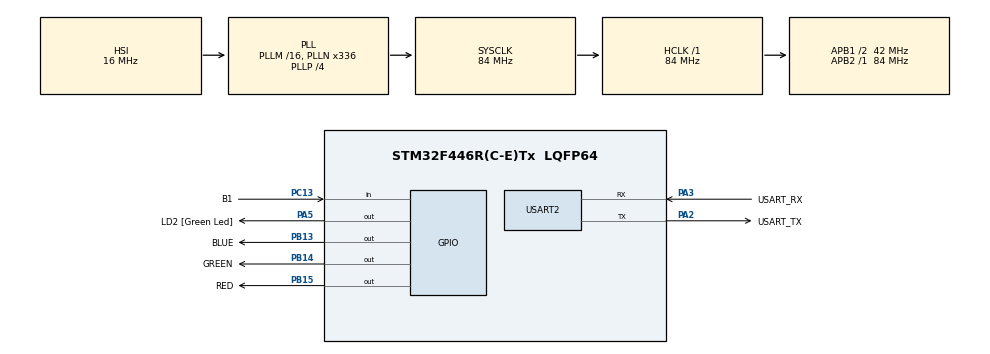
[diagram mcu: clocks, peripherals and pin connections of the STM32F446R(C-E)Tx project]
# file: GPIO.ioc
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Mcu.Family=STM32F4
Mcu.Name=STM32F446R(C-E)Tx
Mcu.Package=LQFP64
NVIC.PriorityGroup=NVIC_PRIORITYGROUP_0
PA13.GPIO_Label=TMS
PA13.Mode=Serial_Wire
PA13.Signal=SYS_JTMS-SWDIO
PA14.GPIO_Label=TCK
PA14.Mode=Serial_Wire
PA14.Signal=SYS_JTCK-SWCLK
PA2.GPIO_Label=USART_TX
PA2.Mode=Asynchronous
PA2.Signal=USART2_TX
PA3.GPIO_Label=USART_RX
PA3.Mode=Asynchronous
PA3.Signal=USART2_RX
PA5.GPIO_Label=LD2 [Green Led]
PA5.Signal=GPIO_Output
PB13.GPIO_Label=BLUE
PB13.Signal=GPIO_Output
PB14.GPIO_Label=GREEN
PB14.Signal=GPIO_Output
PB15.GPIO_Label=RED
PB15.Signal=GPIO_Output
PB3.GPIO_Label=SWO
PB3.Signal=SYS_JTDO-SWO
PC13.GPIO_Label=B1
PC13.GPIO_PuPd=GPIO_PULLUP
PC13.Signal=GPIO_Input
PC14-OSC32_IN.Mode=LSE-External-Oscillator
PC14-OSC32_IN.Signal=RCC_OSC32_IN
PC15-OSC32_OUT.Mode=LSE-External-Oscillator
PC15-OSC32_OUT.Signal=RCC_OSC32_OUT
PH0-OSC_IN.Mode=HSE-External-Oscillator
PH0-OSC_IN.Signal=RCC_OSC_IN
PH1-OSC_OUT.Mode=HSE-External-Oscillator
PH1-OSC_OUT.Signal=RCC_OSC_OUT
ProjectManager.HeapSize=0x200
ProjectManager.StackSize=0x400
ProjectManager.TargetToolchain=STM32CubeIDE
RCC.48MHZClocksFreq_Value=84000000
RCC.AHBFreq_Value=84000000
RCC.APB1CLKDivider=RCC_HCLK_DIV2
RCC.APB1Freq_Value=42000000
RCC.APB1TimFreq_Value=84000000
RCC.APB2Freq_Value=84000000
RCC.APB2TimFreq_Value=84000000
RCC.CortexFreq_Value=84000000
RCC.FLatency-AdvancedSettings=FLASH_LATENCY_2
RCC.HCLKFreq_Value=84000000
RCC.HSE_VALUE=8000000
RCC.HSI_VALUE=16000000
RCC.PLLN=336
RCC.PLLP=RCC_PLLP_DIV4
RCC.SYSCLKFreq_VALUE=84000000
RCC.SYSCLKSource=RCC_SYSCLKSOURCE_PLLCLK
RCC.USBFreq_Value=168000000
RCC.VCOOutputFreq_Value=336000000
USART2.VirtualMode=VM_ASYNC
board=NUCLEO-F446RE

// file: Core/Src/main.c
/* USER CODE BEGIN Header */
/**
  ******************************************************************************
  * @file           : main.c
  * @brief          : Main program body
  ******************************************************************************
  * @attention
  *
  * Copyright (c) 2023 STMicroelectronics.
  * All rights reserved.
  *
  * This software is licensed under terms that can be found in the LICENSE file
  * in the root directory of this software component.
  * If no LICENSE file comes with this software, it is provided AS-IS.
  *
  ******************************************************************************
  */
/* USER CODE END Header */
#include "main.h"

/* USER CODE BEGIN PTD */

// colour sequence enum
enum Colours {
	r,
	g,
	b,
};

/* USER CODE END PTD */

/* USER CODE BEGIN PD */
#define WHITE BLUE_Pin|GREEN_Pin|RED_Pin
/* USER CODE END PD */

/* USER CODE BEGIN PM */
#define SetPin(PIN_NAME) HAL_GPIO_WritePin((PIN_NAME)_GPIO_Port, (PIN_NAME)_Pin, GPIO_PIN_SET)
#define ResetPin(PIN_NAME) HAL_GPIO_WritePin((PIN_NAME)_GPIO_Port, (PIN_NAME)_Pin, GPIO_PIN_RESET)
#define SetPort(PORT_NAME, PIN_SEQ) HAL_GPIO_WritePin((PORT_NAME), (PIN_SEQ), GPIO_PIN_SET)
#define ResetPort(PORT_NAME, PIN_SEQ) HAL_GPIO_WritePin((PORT_NAME), (PIN_SEQ), GPIO_PIN_RESET)

/* USER CODE END PM */

UART_HandleTypeDef huart2;

void SystemClock_Config(void);
static void MX_GPIO_Init(void);
static void MX_USART2_UART_Init(void);
/* USER CODE BEGIN PFP */

// --- CheckButton --- //
// Checks to see if the button is pressed for a certain delay time.
// ARGS: delay<int> : the time in ms that the button should be polled.
// RETURNS: [void]
char CheckButton(int delay);

/* USER CODE END PFP */

int main(void)
{
  /* USER CODE BEGIN 1 */

	// flag to see if the colours should be white
	char WhiteFlag = 0;

	// set initial colour to red
	enum Colours colour;

	colour = r;

  /* USER CODE END 1 */

  /* MCU Configuration--------------------------------------------------------*/

  /* Reset of all peripherals, Initializes the Flash interface and the Systick. */
  HAL_Init();

  /* Configure the system clock */
  SystemClock_Config();

  /* Initialize all configured peripherals */
  MX_GPIO_Init();
  MX_USART2_UART_Init();

  /* Infinite loop */
  while (1)
  {
    /* USER CODE BEGIN 3 */

	  while(!WhiteFlag){	// while the colour to be shown is not white

		  // state machine determines what colour to turn on
		  switch (colour){
		  case r:
			  HAL_GPIO_WritePin(RED_GPIO_Port, RED_Pin, GPIO_PIN_SET);
			  break;
		  case g:
			  HAL_GPIO_WritePin(GREEN_GPIO_Port, GREEN_Pin, GPIO_PIN_SET);
			  break;
		  case b:
			  HAL_GPIO_WritePin(BLUE_GPIO_Port, BLUE_Pin, GPIO_PIN_SET);
			  break;
		  }

		  // check the button for 250ms
		  if(CheckButton(250)){ // if pressed
			  WhiteFlag = 1; 	// set whiteflag
			  break;			// break while loop
		  }else{
			  switch (colour){	// control pins to turn off
			  case r:
				  HAL_GPIO_WritePin(RED_GPIO_Port, RED_Pin, GPIO_PIN_RESET); 	// turn off red
				  colour = g;		// set colour to green
				  break;
			  case g:				//etc...
				  HAL_GPIO_WritePin(GREEN_GPIO_Port, GREEN_Pin, GPIO_PIN_RESET);
				  colour = b;
				  break;
			  case b:
				  HAL_GPIO_WritePin(BLUE_GPIO_Port, BLUE_Pin, GPIO_PIN_RESET);
				  colour = r;
				  break;
			  }
		  }

		  WhiteFlag = CheckButton(250); // check button again and set white flag to 1 if button is pressed, else 0
	  }

	  while(WhiteFlag){							// while the LED should be white
		  HAL_GPIO_WritePin(GPIOB, WHITE, GPIO_PIN_SET); 					// turn on white light;
		  while (HAL_GPIO_ReadPin(B1_GPIO_Port, B1_Pin) == GPIO_PIN_SET); 	// while the button is not pressed, do nothing
		  HAL_Delay(30); 													// delay 30ms to debounce
		  if(HAL_GPIO_ReadPin(B1_GPIO_Port, B1_Pin) == GPIO_PIN_RESET){		// if still pressed
			  WhiteFlag = 0;												// set WhiteFlag to 0
		  }
		  while(HAL_GPIO_ReadPin(B1_GPIO_Port, B1_Pin) == GPIO_PIN_RESET); 	// wait for release
		  HAL_GPIO_WritePin(GPIOB, WHITE, GPIO_PIN_RESET); 					// turn off white light
	  }

  }
  /* USER CODE END 3 */
}

void SystemClock_Config(void)
{
  RCC_OscInitTypeDef RCC_OscInitStruct = {0};
  RCC_ClkInitTypeDef RCC_ClkInitStruct = {0};

  /** Configure the main internal regulator output voltage
  */
  __HAL_RCC_PWR_CLK_ENABLE();
  __HAL_PWR_VOLTAGESCALING_CONFIG(PWR_REGULATOR_VOLTAGE_SCALE3);

  /** Initializes the RCC Oscillators according to the specified parameters
  * in the RCC_OscInitTypeDef structure.
  */
  RCC_OscInitStruct.OscillatorType = RCC_OSCILLATORTYPE_HSI;
  RCC_OscInitStruct.HSIState = RCC_HSI_ON;
  RCC_OscInitStruct.HSICalibrationValue = RCC_HSICALIBRATION_DEFAULT;
  RCC_OscInitStruct.PLL.PLLState = RCC_PLL_ON;
  RCC_OscInitStruct.PLL.PLLSource = RCC_PLLSOURCE_HSI;
  RCC_OscInitStruct.PLL.PLLM = 16;
  RCC_OscInitStruct.PLL.PLLN = 336;
  RCC_OscInitStruct.PLL.PLLP = RCC_PLLP_DIV4;
  RCC_OscInitStruct.PLL.PLLQ = 2;
  RCC_OscInitStruct.PLL.PLLR = 2;
  if (HAL_RCC_OscConfig(&RCC_OscInitStruct) != HAL_OK)
  {
    Error_Handler();
  }

  /** Initializes the CPU, AHB and APB buses clocks
  */
  RCC_ClkInitStruct.ClockType = RCC_CLOCKTYPE_HCLK|RCC_CLOCKTYPE_SYSCLK
                              |RCC_CLOCKTYPE_PCLK1|RCC_CLOCKTYPE_PCLK2;
  RCC_ClkInitStruct.SYSCLKSource = RCC_SYSCLKSOURCE_PLLCLK;
  RCC_ClkInitStruct.AHBCLKDivider = RCC_SYSCLK_DIV1;
  RCC_ClkInitStruct.APB1CLKDivider = RCC_HCLK_DIV2;
  RCC_ClkInitStruct.APB2CLKDivider = RCC_HCLK_DIV1;

  if (HAL_RCC_ClockConfig(&RCC_ClkInitStruct, FLASH_LATENCY_2) != HAL_OK)
  {
    Error_Handler();
  }
}

static void MX_USART2_UART_Init(void)
{

  huart2.Instance = USART2;
  huart2.Init.BaudRate = 115200;
  huart2.Init.WordLength = UART_WORDLENGTH_8B;
  huart2.Init.StopBits = UART_STOPBITS_1;
  huart2.Init.Parity = UART_PARITY_NONE;
  huart2.Init.Mode = UART_MODE_TX_RX;
  huart2.Init.HwFlowCtl = UART_HWCONTROL_NONE;
  huart2.Init.OverSampling = UART_OVERSAMPLING_16;
  if (HAL_UART_Init(&huart2) != HAL_OK)
  {
    Error_Handler();
  }

}

static void MX_GPIO_Init(void)
{
  GPIO_InitTypeDef GPIO_InitStruct = {0};

  /* GPIO Ports Clock Enable */
  __HAL_RCC_GPIOC_CLK_ENABLE();
  __HAL_RCC_GPIOH_CLK_ENABLE();
  __HAL_RCC_GPIOA_CLK_ENABLE();
  __HAL_RCC_GPIOB_CLK_ENABLE();

  /*Configure GPIO pin Output Level */
  HAL_GPIO_WritePin(LD2_GPIO_Port, LD2_Pin, GPIO_PIN_RESET);

  /*Configure GPIO pin Output Level */
  HAL_GPIO_WritePin(GPIOB, BLUE_Pin|GREEN_Pin|RED_Pin, GPIO_PIN_RESET);

  /*Configure GPIO pin : B1_Pin */
  GPIO_InitStruct.Pin = B1_Pin;
  GPIO_InitStruct.Mode = GPIO_MODE_INPUT;
  GPIO_InitStruct.Pull = GPIO_PULLUP;
  HAL_GPIO_Init(B1_GPIO_Port, &GPIO_InitStruct);

  /*Configure GPIO pin : LD2_Pin */
  GPIO_InitStruct.Pin = LD2_Pin;
  GPIO_InitStruct.Mode = GPIO_MODE_OUTPUT_PP;
  GPIO_InitStruct.Pull = GPIO_NOPULL;
  GPIO_InitStruct.Speed = GPIO_SPEED_FREQ_LOW;
  HAL_GPIO_Init(LD2_GPIO_Port, &GPIO_InitStruct);

  /*Configure GPIO pins : BLUE_Pin GREEN_Pin RED_Pin */
  GPIO_InitStruct.Pin = BLUE_Pin|GREEN_Pin|RED_Pin;
  GPIO_InitStruct.Mode = GPIO_MODE_OUTPUT_PP;
  GPIO_InitStruct.Pull = GPIO_NOPULL;
  GPIO_InitStruct.Speed = GPIO_SPEED_FREQ_LOW;
  HAL_GPIO_Init(GPIOB, &GPIO_InitStruct);

}

/* USER CODE BEGIN 4 */

// --- Private Function Definitions --- //

// --- CheckButton --- //
// Checks to see if the button is pressed for a certain delay time.
// ARGS: delay<int> : the time in ms that the button should be polled.
// RETURNS: [void]
char CheckButton(int delay){
	uint32_t start = HAL_GetTick();				// get starting clock time
	  while ((HAL_GetTick() - start) < delay){	// while the time delay hasn't past
		  if(HAL_GPIO_ReadPin(B1_GPIO_Port, B1_Pin) == GPIO_PIN_RESET){	// if button pressed
			  HAL_Delay(30); 					// delay 30ms to debounce
		  }
		  if(HAL_GPIO_ReadPin(B1_GPIO_Port, B1_Pin) == GPIO_PIN_RESET){	// if button still pressed
			  HAL_GPIO_WritePin(GPIOB, WHITE, GPIO_PIN_SET);
			  while(HAL_GPIO_ReadPin(B1_GPIO_Port, B1_Pin) == GPIO_PIN_RESET);	// do nothing and wait for release
			  return 1;							// return 1 to signify the button was pressed
		  }
	  }
	  return 0;		// return 0 if button is never pressed
}

/* USER CODE END 4 */

void Error_Handler(void)
{
  __disable_irq();
  while (1)
  {
  }
}
